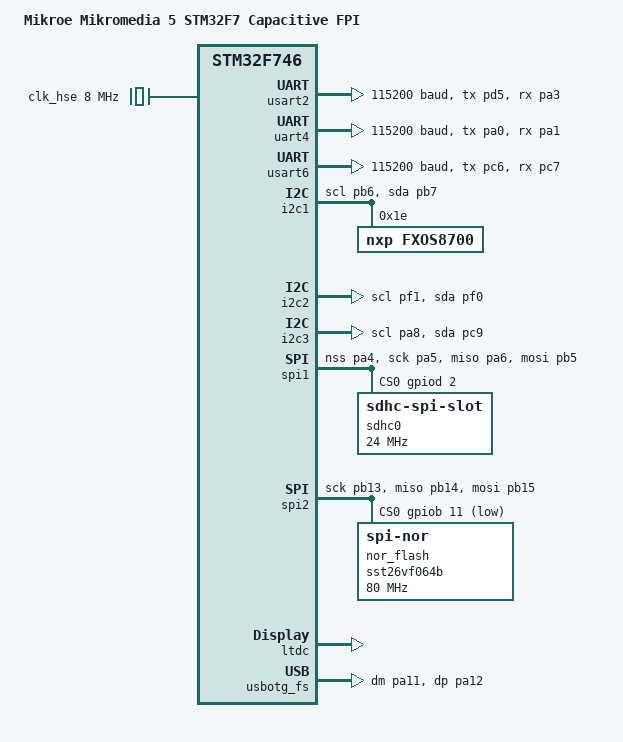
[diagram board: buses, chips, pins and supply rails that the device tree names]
/*
 * Copyright (c) 2024 Ian Morris
 *
 * SPDX-License-Identifier: Apache-2.0
 */

/dts-v1/;
#include <st/f7/stm32f746Xg.dtsi>
#include <st/f7/stm32f746zgtx-pinctrl.dtsi>

/ {
	model = "Mikroe Mikromedia 5 STM32F7 Capacitive FPI";
	compatible = "st,stm32f746";

	chosen {
		zephyr,console = &usart2;
		zephyr,shell-uart = &cdc_acm_uart0;
		zephyr,sram = &sram0;
		zephyr,flash = &flash0;
		zephyr,display = &ltdc;
	};

	aliases {
		magn0 = &fxos8700;
		accel0 = &fxos8700;
	};
};

&clk_lsi {
	status = "okay";
};

&clk_hse {
	hse-bypass;
	clock-frequency = <DT_FREQ_M(8)>; /* STLink 8MHz clock */
	status = "okay";
};

&pll {
	div-m = <4>;
	mul-n = <192>;
	div-p = <2>;
	div-q = <8>;
	clocks = <&clk_hse>;
	status = "okay";
};

&rcc {
	clocks = <&pll>;
	clock-frequency = <DT_FREQ_M(192)>;
	ahb-prescaler = <1>;
	apb1-prescaler = <4>;
	apb2-prescaler = <2>;
};

&usart2 {
	pinctrl-0 = <&usart2_tx_pd5 &usart2_rx_pa3>;
	pinctrl-names = "default";
	current-speed = <115200>;
	status = "okay";
};

&uart4 {
	pinctrl-0 = <&uart4_tx_pa0 &uart4_rx_pa1>;
	pinctrl-names = "default";
	current-speed = <115200>;
	status = "okay";
};

&usart6 {
	pinctrl-0 = <&usart6_tx_pc6 &usart6_rx_pc7>;
	pinctrl-names = "default";
	current-speed = <115200>;
	status = "okay";
};

&i2c1 {
	pinctrl-0 = <&i2c1_scl_pb6 &i2c1_sda_pb7>;
	pinctrl-names = "default";
	status = "okay";

	fxos8700: fxos8700@1e {
		compatible = "nxp,fxos8700";
		reg = <0x1e>;
	};
};

&i2c2 {
	pinctrl-0 = <&i2c2_scl_pf1 &i2c2_sda_pf0>;
	pinctrl-names = "default";
	status = "okay";
};

&i2c3 {
	pinctrl-0 = <&i2c3_scl_pa8 &i2c3_sda_pc9>;
	pinctrl-names = "default";
	status = "okay";
};

&spi1 {
	pinctrl-0 = <&spi1_nss_pa4 &spi1_sck_pa5
		      &spi1_miso_pa6 &spi1_mosi_pb5>;
	pinctrl-names = "default";
	status = "okay";
	cs-gpios = <&gpiod 2 GPIO_ACTIVE_HIGH>;

	sdhc0: sdhc@0 {
		compatible = "zephyr,sdhc-spi-slot";
		reg = <0>;
		status = "okay";
		spi-max-frequency = <24000000>;
		mmc {
			compatible = "zephyr,sdmmc-disk";
			disk-name = "SD";
			status = "okay";
		};
	};
};

&spi2 {
	pinctrl-0 = <&spi2_sck_pb13 &spi2_miso_pb14 &spi2_mosi_pb15>;
	pinctrl-names = "default";
	cs-gpios = <&gpiob 11 (GPIO_ACTIVE_LOW | GPIO_PULL_UP)>;
	status = "okay";

	nor_flash: sst26vf064b@0 {
		compatible ="jedec,spi-nor";
		size = <0x800000>;
		reg = <0>;
		spi-max-frequency = <80000000>;
		status = "okay";
		jedec-id = [bf 26 43];
	};
};

&ltdc {
	status = "okay";

	width = <480>;
	height = <272>;
	pixel-format = <PANEL_PIXEL_FORMAT_RGB_565>;
	display-timings {
		compatible = "zephyr,panel-timing";
		de-active = <0>;
		pixelclk-active = <0>;
		hsync-active = <0>;
		vsync-active = <0>;
		hsync-len = <1>;
		vsync-len = <10>;
		hback-porch = <43>;
		vback-porch = <12>;
		hfront-porch = <8>;
		vfront-porch = <4>;
	};
	def-back-color-red = <0xFF>;
	def-back-color-green = <0xFF>;
	def-back-color-blue = <0xFF>;
};

zephyr_udc0: &usbotg_fs {
	pinctrl-0 = <&usb_otg_fs_dm_pa11 &usb_otg_fs_dp_pa12>;
	pinctrl-names = "default";
	status = "okay";

	cdc_acm_uart0: cdc_acm_uart0 {
		compatible = "zephyr,cdc-acm-uart";
	};
};
